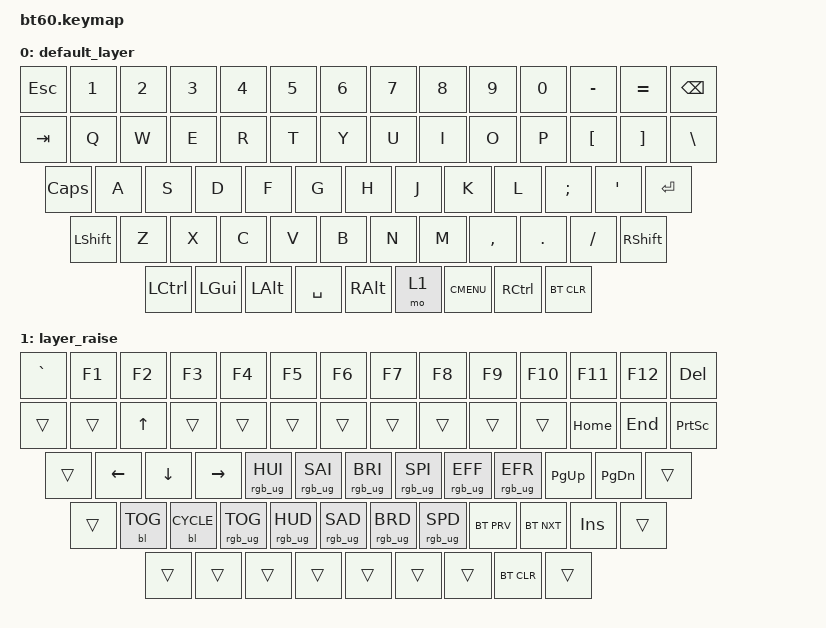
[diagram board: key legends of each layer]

/*
 * Copyright (c) 2020 The ZMK Contributors
 *
 * SPDX-License-Identifier: MIT
 */


/* THIS FILE WAS GENERATED!
 *
 * This file was generated automatically. You may or may not want to
 * edit it directly.
 */

#include <behaviors.dtsi>
#include <dt-bindings/zmk/keys.h>

#include <dt-bindings/zmk/bt.h>
#include <dt-bindings/zmk/backlight.h>
#include <dt-bindings/zmk/rgb.h>

/ {
    keymap {
        compatible = "zmk,keymap";


        default_layer {
            bindings = <
   &kp ESC     &kp N1    &kp N2    &kp N3     &kp N4    &kp N5            &kp N6       &kp N7     &kp N8      &kp N9    &kp N0  &kp MINUS  &kp EQUAL  &kp BSPC
   &kp TAB      &kp Q     &kp W     &kp E      &kp R     &kp T             &kp Y        &kp U      &kp I       &kp O     &kp P   &kp LBKT   &kp RBKT  &kp BSLH
  &kp CLCK      &kp A     &kp S     &kp D      &kp F     &kp G             &kp H        &kp J      &kp K       &kp L  &kp SEMI    &kp SQT    &kp RET
 &kp LSHFT      &kp Z     &kp X     &kp C      &kp V     &kp B             &kp N        &kp M  &kp COMMA     &kp DOT  &kp FSLH  &kp RSHFT
            &kp LCTRL  &kp LGUI  &kp LALT  &kp SPACE  &kp RALT             &mo 1  &kp K_CMENU  &kp RCTRL  &bt BT_CLR
            >;
        };

        layer_raise {
            bindings = <
  &kp GRAVE        &kp F1        &kp F2      &kp F3  &kp F4       &kp F5            &kp F6  &kp F7      &kp F8   &kp F9    &kp F10     &kp F11          &kp F12  &kp DEL
     &trans        &trans        &kp UP      &trans  &trans       &trans            &trans  &trans     &trans   &trans  &trans    &kp HOME  &kp END   &kp PSCRN
     &trans        &kp LEFT      &kp DOWN    &kp RIGHT  &rgb_ug RGB_HUI  &rgb_ug RGB_SAI  &rgb_ug RGB_BRI  &rgb_ug RGB_SPI  &rgb_ug RGB_EFF  &rgb_ug RGB_EFR  &kp PG_UP  &kp PG_DN   &trans
     &trans  &bl BL_TOG  &bl BL_CYCLE  &rgb_ug RGB_TOG  &rgb_ug RGB_HUD  &rgb_ug RGB_SAD  &rgb_ug RGB_BRD  &rgb_ug RGB_SPD  &bt BT_PRV  &bt BT_NXT  &kp INS  &trans
        &trans     &trans        &trans      &trans  &trans       &trans            &trans  &bt BT_CLR   &trans
            >;
        };

    };
};
